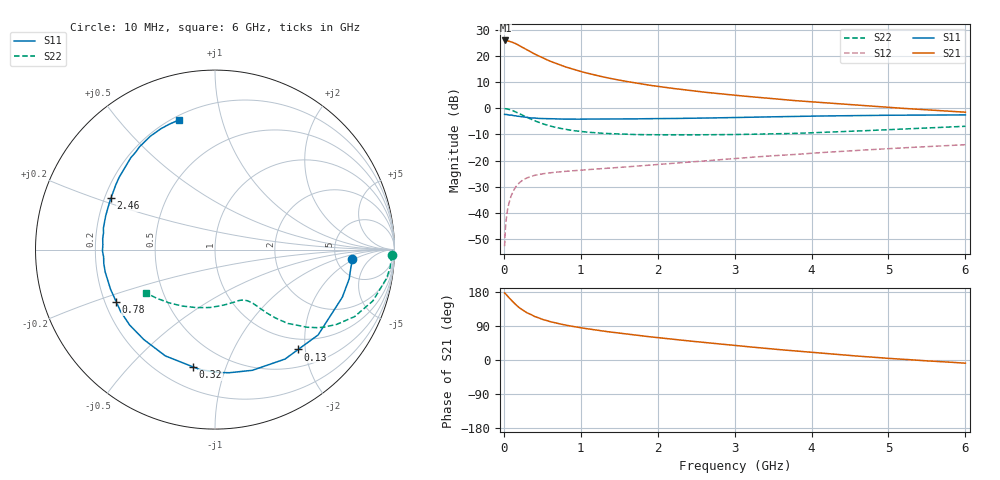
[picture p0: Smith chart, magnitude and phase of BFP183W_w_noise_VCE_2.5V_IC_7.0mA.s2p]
! Infineon Technologies  Discrete & RF Semiconductors
! BFP183W
! VCE = 2.5 V,  IC =  7.0 mA
! Common Emitter S-Parameters:  Jan 2016
# GHz  S  MA  R  50
!  f  S11  S21  S12  S22
! GHz  MAG  ANG  MAG  ANG  MAG  ANG  MAG  ANG
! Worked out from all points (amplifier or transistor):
!   210 points, 10 MHz to 6 GHz, reference 50 ohm
!   highest |S21| = 26.0 dB at 20 MHz (marker M1)
!   |S21| within 3 dB of that: start of sweep to 264.2 MHz
!   unconditionally stable (mu >= 1): 1.525 GHz to 5.659 GHz
!   at 185 MHz: K = 0.18, MSG = 26.6 dB, |S12| = -29.0 dB
!   at 1.52 GHz: K = 1.00, MSG = 16.6 dB, |S12| = -22.6 dB
!   at 6 GHz: K = 0.98, MSG = 6.2 dB, |S12| = -13.9 dB
!   lowest NFmin = 1.25 dB at 450 MHz
!   S11 on the Smith chart (normalised r, x): 10 MHz: 7.08, -1.89; 130 MHz: 0.80, -1.86; 320 MHz: 0.33, -0.77; 780 MHz: 0.25, -0.23; 2.46 GHz: 0.23, +0.22; 6 GHz: 0.22, +0.73
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0.01  0.7673 -4.1  19.89 176.8  0.0023 87.1  0.9885 -1.9
0.02  0.7635 -8.3  19.94 175.3  0.005 83.2  0.9819 -3.8
0.05  0.7574 -20.5  19.66 168.1  0.0119 80.1  0.9699 -9.4
0.095  0.7432 -37.7  18.76 158.2  0.0211 70.9  0.9286 -17.1
0.13  0.7242 -50.2  17.88 151.1  0.0273 65.3  0.886 -22.4
0.15  0.724 -57.4  17.45 146.8  0.0308 62.9  0.8631 -25.6
0.2  0.704 -72.8  15.93 138.1  0.0374 56.3  0.7955 -31.6
0.26  0.6854 -88.1  14.24 129.9  0.0435 50.2  0.7197 -37.2
0.3  0.6737 -97.2  13.15 124.7  0.0466 46.8  0.6716 -40.1
0.32  0.6647 -100.6  12.69 123.0  0.0477 45.5  0.6524 -41.0
0.4  0.6538 -115.0  10.97 114.9  0.0522 40.7  0.5778 -45.4
0.5  0.6391 -128.3  9.289 107.3  0.0558 37.7  0.5088 -48.5
0.6  0.6347 -138.5  8.003 101.4  0.0584 35.4  0.4596 -50.6
0.78  0.6225 -152.1  6.39 93.1  0.0619 34.0  0.4019 -52.9
1.02  0.6213 -164.7  4.983 84.5  0.0658 33.9  0.3584 -55.5
1.4  0.6271 -179.3  3.701 73.4  0.0723 35.5  0.3277 -59.6
2.02  0.6372 163.4  2.611 58.6  0.0847 39.3  0.3116 -68.3
2.46  0.6469 153.7  2.16 49.2  0.095 41.0  0.3111 -76.0
3.1  0.6715 141.2  1.727 36.6  0.1123 42.0  0.3165 -88.3
4.1  0.7129 125.0  1.301 18.6  0.1415 40.6  0.344 -111.0
5.1  0.7389 113.2  1.02 3.1  0.1725 37.1  0.3975 -132.8
6  0.7494 105.6  0.844 -8.4  0.2015 33.4  0.4535 -147.8
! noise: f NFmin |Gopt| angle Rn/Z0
0.45  1.25  0.18  42  0.22
0.9  1.3  0.22  110  0.2
1.8  2  0.33  180  0.14
